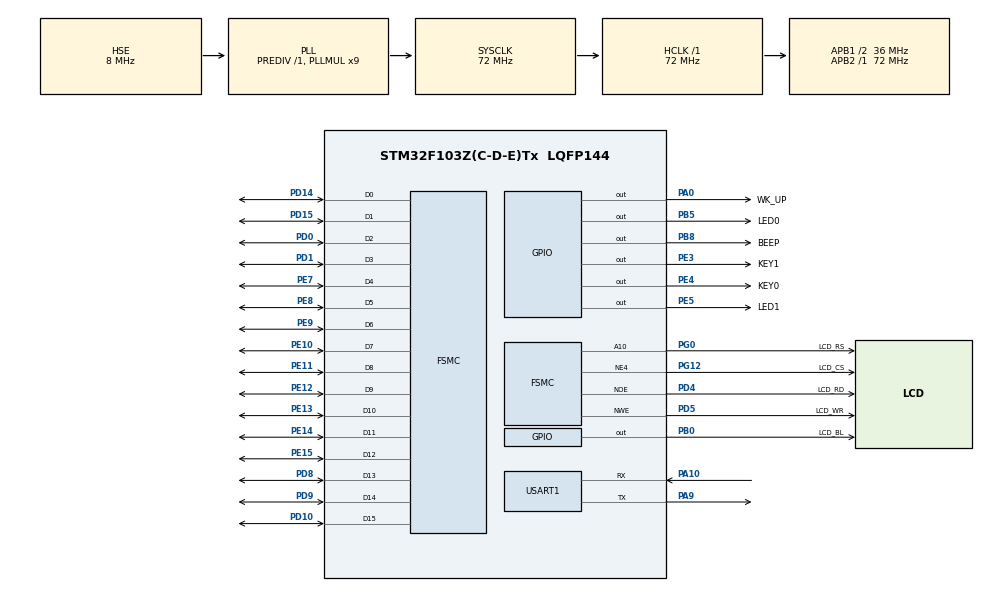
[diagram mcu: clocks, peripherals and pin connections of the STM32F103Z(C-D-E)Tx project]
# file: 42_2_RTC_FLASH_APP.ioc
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FSMC.AddressSetupTime1=0
FSMC.BusTurnAroundDuration1=15
FSMC.DataSetupTime1=15
FSMC.ExtendedAddressSetupTime1=0
FSMC.ExtendedDataSetupTime1=1
FSMC.ExtendedMode1=FSMC_EXTENDED_MODE_ENABLE
Mcu.Family=STM32F1
Mcu.Name=STM32F103Z(C-D-E)Tx
Mcu.Package=LQFP144
NVIC.PriorityGroup=NVIC_PRIORITYGROUP_2
NVIC.RTC_IRQn=true\:2\:2\:true\:false\:true\:true\:true\:true
NVIC.TIM4_IRQn=true\:2\:1\:true\:false\:true\:true\:true\:true
NVIC.USART1_IRQn=true\:2\:2\:true\:false\:true\:true\:true\:true
OSC_IN.Mode=HSE-External-Oscillator
OSC_IN.Signal=RCC_OSC_IN
OSC_OUT.Mode=HSE-External-Oscillator
OSC_OUT.Signal=RCC_OSC_OUT
PA0-WKUP.GPIO_Label=WK_UP
PA0-WKUP.GPIO_PuPd=GPIO_PULLDOWN
PA0-WKUP.GPIO_Speed=GPIO_SPEED_FREQ_HIGH
PA0-WKUP.PinState=GPIO_PIN_RESET
PA0-WKUP.Signal=GPIO_Output
PA10.Mode=Asynchronous
PA10.Signal=USART1_RX
PA13.Mode=Serial_Wire
PA13.Signal=SYS_JTMS-SWDIO
PA14.Mode=Serial_Wire
PA14.Signal=SYS_JTCK-SWCLK
PA9.Mode=Asynchronous
PA9.Signal=USART1_TX
PB0.GPIO_Label=LCD_BL
PB0.GPIO_PuPd=GPIO_PULLUP
PB0.GPIO_Speed=GPIO_SPEED_FREQ_HIGH
PB0.PinState=GPIO_PIN_SET
PB0.Signal=GPIO_Output
PB5.GPIO_Label=LED0
PB5.GPIO_PuPd=GPIO_PULLUP
PB5.GPIO_Speed=GPIO_SPEED_FREQ_HIGH
PB5.PinState=GPIO_PIN_SET
PB5.Signal=GPIO_Output
PB8.GPIO_Label=BEEP
PB8.GPIO_ModeDefaultOutputPP=GPIO_MODE_OUTPUT_PP
PB8.GPIO_PuPd=GPIO_PULLDOWN
PB8.GPIO_Speed=GPIO_SPEED_FREQ_HIGH
PB8.PinState=GPIO_PIN_RESET
PB8.Signal=GPIO_Output
PC14-OSC32_IN.Mode=LSE-External-Oscillator
PC14-OSC32_IN.Signal=RCC_OSC32_IN
PC15-OSC32_OUT.Mode=LSE-External-Oscillator
PC15-OSC32_OUT.Signal=RCC_OSC32_OUT
PD0.Signal=FSMC_D2_DA2
PD1.Signal=FSMC_D3_DA3
PD10.Signal=FSMC_D15_DA15
PD14.Signal=FSMC_D0_DA0
PD15.Signal=FSMC_D1_DA1
PD4.GPIO_Label=LCD_RD
PD4.Signal=FSMC_NOE
PD5.GPIO_Label=LCD_WR
PD5.Signal=FSMC_NWE
PD8.Signal=FSMC_D13_DA13
PD9.Signal=FSMC_D14_DA14
PE10.Signal=FSMC_D7_DA7
PE11.Signal=FSMC_D8_DA8
PE12.Signal=FSMC_D9_DA9
PE13.Signal=FSMC_D10_DA10
PE14.Signal=FSMC_D11_DA11
PE15.Signal=FSMC_D12_DA12
PE3.GPIO_Label=KEY1
PE3.GPIO_PuPd=GPIO_PULLUP
PE3.GPIO_Speed=GPIO_SPEED_FREQ_HIGH
PE3.PinState=GPIO_PIN_SET
PE3.Signal=GPIO_Output
PE4.GPIO_Label=KEY0
PE4.GPIO_PuPd=GPIO_PULLUP
PE4.GPIO_Speed=GPIO_SPEED_FREQ_HIGH
PE4.PinState=GPIO_PIN_SET
PE4.Signal=GPIO_Output
PE5.GPIO_Label=LED1
PE5.GPIO_PuPd=GPIO_PULLUP
PE5.GPIO_Speed=GPIO_SPEED_FREQ_HIGH
PE5.PinState=GPIO_PIN_SET
PE5.Signal=GPIO_Output
PE7.Signal=FSMC_D4_DA4
PE8.Signal=FSMC_D5_DA5
PE9.Signal=FSMC_D6_DA6
PG0.GPIO_Label=LCD_RS
PG0.Signal=FSMC_A10
PG12.GPIO_Label=LCD_CS
PG12.Mode=NorPsramChipSelect4_1
PG12.Signal=FSMC_NE4
ProjectManager.HeapSize=0x200
ProjectManager.StackSize=0x400
ProjectManager.TargetToolchain=STM32CubeIDE
RCC.AHBFreq_Value=72000000
RCC.APB1CLKDivider=RCC_HCLK_DIV2
RCC.APB1Freq_Value=36000000
RCC.APB1TimFreq_Value=72000000
RCC.APB2Freq_Value=72000000
RCC.APB2TimFreq_Value=72000000
RCC.HCLKFreq_Value=72000000
RCC.PLLMUL=RCC_PLL_MUL9
RCC.PLLSourceVirtual=RCC_PLLSOURCE_HSE
RCC.RTCClockSelection=RCC_RTCCLKSOURCE_LSE
RCC.SYSCLKFreq_VALUE=72000000
RCC.SYSCLKSource=RCC_SYSCLKSOURCE_PLLCLK
RCC.USBFreq_Value=72000000
RTC.Date=23
RTC.Format=RTC_FORMAT_BCD
RTC.Hours=9
RTC.Month=RTC_MONTH_AUGUST
RTC.OutPut=RTC_OUTPUTSOURCE_NONE
RTC.WeekDay=RTC_WEEKDAY_WEDNESDAY
RTC.Year=23
SH.FSMC_A10.0=FSMC_A10,A10_1
SH.FSMC_D0_DA0.0=FSMC_D0,16b-d1
SH.FSMC_D10_DA10.0=FSMC_D10,16b-d1
SH.FSMC_D11_DA11.0=FSMC_D11,16b-d1
SH.FSMC_D12_DA12.0=FSMC_D12,16b-d1
SH.FSMC_D13_DA13.0=FSMC_D13,16b-d1
SH.FSMC_D14_DA14.0=FSMC_D14,16b-d1
SH.FSMC_D15_DA15.0=FSMC_D15,16b-d1
SH.FSMC_D1_DA1.0=FSMC_D1,16b-d1
SH.FSMC_D2_DA2.0=FSMC_D2,16b-d1
SH.FSMC_D3_DA3.0=FSMC_D3,16b-d1
SH.FSMC_D4_DA4.0=FSMC_D4,16b-d1
SH.FSMC_D5_DA5.0=FSMC_D5,16b-d1
SH.FSMC_D6_DA6.0=FSMC_D6,16b-d1
SH.FSMC_D7_DA7.0=FSMC_D7,16b-d1
SH.FSMC_D8_DA8.0=FSMC_D8,16b-d1
SH.FSMC_D9_DA9.0=FSMC_D9,16b-d1
SH.FSMC_NOE.0=FSMC_NOE,Lcd1
SH.FSMC_NWE.0=FSMC_NWE,Lcd1
TIM4.AutoReloadPreload=TIM_AUTORELOAD_PRELOAD_ENABLE
TIM4.Period=1000 - 1
TIM4.Prescaler=7200 - 1
USART1.VirtualMode=VM_ASYNC
VP_RTC_No_RTC_Output.Mode=RTC_OUT_NO
VP_RTC_VS_RTC_Activate.Mode=RTC_Enabled
VP_TIM4_VS_ClockSourceINT.Mode=Internal
board=custom

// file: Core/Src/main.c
/* USER CODE BEGIN Header */
/**
 ****************************************************************************************************
 * @file        main.c
 * @author      正点原子团队(ALIENTEK)
 * @version     V1.0
 * @date        2024-01-01
 * @brief       RTC 实验
 * @license     Copyright (c) 2020-2032, 广州市星翼电子科技有限公司
 ****************************************************************************************************
 * @attention
 *
 * 实验平台:正点原子 STM32F103开发板
 * 在线视频:www.yuanzige.com
 * 技术论坛:www.openedv.com
 * 公司网址:www.alientek.com
 * 购买地址:openedv.taobao.com
 *
 ****************************************************************************************************
 */
/* USER CODE END Header */
#include "main.h"
#include "rtc.h"
#include "tim.h"
#include "usart.h"
#include "gpio.h"
#include "fsmc.h"

/* USER CODE BEGIN Includes */
#include "../../BSP/LED/led.h"
#include "../../BSP/BEEP/beep.h"
#include "../../BSP/KEY/key.h"
#include "../../BSP/LCD/lcd.h"
#include "../../SYSTEM/delay/delay.h"
#include "../../SYSTEM/sys/sys.h"
#include "../../ATK_Middlewares/USMART/usmart.h"
/* USER CODE END Includes */

void SystemClock_Config(void);

/* USER CODE BEGIN 0 */
/* 定义字符数组用于显示周 */
char* weekdays[]={"Sunday","Monday","Tuesday","Wednesday",
                  "Thursday","Friday","Saterday"};
/* USER CODE END 0 */

int main(void)
{
  /* USER CODE BEGIN 1 */
    uint8_t tbuf[40];
    uint8_t t = 0;
	/* 当你设置了宏定义且改了偏移值VECT_TAB_OFFSET，那么可以省略此步骤。设置中断向量表偏移量为0X10000 */
	sys_nvic_set_vector_table(FLASH_BASE, 0x10000);
  /* USER CODE END 1 */

  /* MCU Configuration--------------------------------------------------------*/

  /* Reset of all peripherals, Initializes the Flash interface and the Systick. */
  HAL_Init();

  /* Configure the system clock */
  SystemClock_Config();

  /* USER CODE BEGIN SysInit */
  delay_init(72);						/* 初始化延时函数 */
  /* USER CODE END SysInit */

  /* Initialize all configured peripherals */
  MX_GPIO_Init();
  MX_FSMC_Init();
  MX_USART1_UART_Init();
  MX_TIM4_Init();
  MX_RTC_Init();
  /* USER CODE BEGIN 2 */
  rtc_set_alarm(2023, 9, 10, 12, 3, 0); /* 设置一次闹钟 */
  lcd_init();                        	/* 初始化LCD */
  lcd_show_string(30, 50, 200, 16, 16, "STM32", RED);
  lcd_show_string(30, 70, 200, 16, 16, "RTC TEST", RED);
  lcd_show_string(30, 90, 200, 16, 16, "ATOM@ALIENTEK", RED);
  /* USER CODE END 2 */

  /* Infinite loop */
  /* USER CODE BEGIN WHILE */
  while (1)
  {
	  t++;

	  if ((t % 10) == 0)               	/* 每100ms更新一次显示数据 */
	  {
		  rtc_get_time();
		  sprintf((char *)tbuf, "Time:%02d:%02d:%02d", calendar.hour, calendar.min, calendar.sec);
		  lcd_show_string(30, 120, 210, 16, 16, (char *)tbuf, RED);
		  sprintf((char *)tbuf, "Date:%04d-%02d-%02d", calendar.year, calendar.month, calendar.date);
		  lcd_show_string(30, 140, 210, 16, 16, (char *)tbuf, RED);
		  sprintf((char *)tbuf, "Week:%s", weekdays[calendar.week]);
		  lcd_show_string(30, 160, 210, 16, 16, (char *)tbuf, RED);
	  }

	  if ((t % 20) == 0)
	  {
		  LED0_TOGGLE();              	/* 每200ms,翻转一次LED0 */
	  }

	  delay_ms(10);
    /* USER CODE END WHILE */

  }
}

void SystemClock_Config(void)
{
  RCC_OscInitTypeDef RCC_OscInitStruct = {0};
  RCC_ClkInitTypeDef RCC_ClkInitStruct = {0};
  RCC_PeriphCLKInitTypeDef PeriphClkInit = {0};

  /** Initializes the RCC Oscillators according to the specified parameters
  * in the RCC_OscInitTypeDef structure.
  */
  RCC_OscInitStruct.OscillatorType = RCC_OSCILLATORTYPE_HSE|RCC_OSCILLATORTYPE_LSE;
  RCC_OscInitStruct.HSEState = RCC_HSE_ON;
  RCC_OscInitStruct.HSEPredivValue = RCC_HSE_PREDIV_DIV1;
  RCC_OscInitStruct.LSEState = RCC_LSE_ON;
  RCC_OscInitStruct.HSIState = RCC_HSI_ON;
  RCC_OscInitStruct.PLL.PLLState = RCC_PLL_ON;
  RCC_OscInitStruct.PLL.PLLSource = RCC_PLLSOURCE_HSE;
  RCC_OscInitStruct.PLL.PLLMUL = RCC_PLL_MUL9;
  if (HAL_RCC_OscConfig(&RCC_OscInitStruct) != HAL_OK)
  {
    Error_Handler();
  }

  /** Initializes the CPU, AHB and APB buses clocks
  */
  RCC_ClkInitStruct.ClockType = RCC_CLOCKTYPE_HCLK|RCC_CLOCKTYPE_SYSCLK
                              |RCC_CLOCKTYPE_PCLK1|RCC_CLOCKTYPE_PCLK2;
  RCC_ClkInitStruct.SYSCLKSource = RCC_SYSCLKSOURCE_PLLCLK;
  RCC_ClkInitStruct.AHBCLKDivider = RCC_SYSCLK_DIV1;
  RCC_ClkInitStruct.APB1CLKDivider = RCC_HCLK_DIV2;
  RCC_ClkInitStruct.APB2CLKDivider = RCC_HCLK_DIV1;

  if (HAL_RCC_ClockConfig(&RCC_ClkInitStruct, FLASH_LATENCY_2) != HAL_OK)
  {
    Error_Handler();
  }
  PeriphClkInit.PeriphClockSelection = RCC_PERIPHCLK_RTC;
  PeriphClkInit.RTCClockSelection = RCC_RTCCLKSOURCE_LSE;
  if (HAL_RCCEx_PeriphCLKConfig(&PeriphClkInit) != HAL_OK)
  {
    Error_Handler();
  }
}

void Error_Handler(void)
{
  __disable_irq();
  while (1)
  {
  }
}
